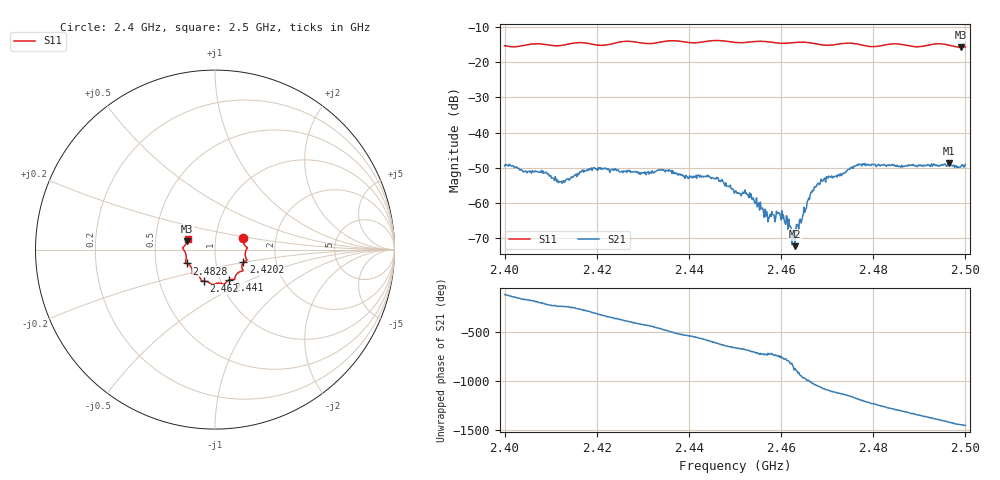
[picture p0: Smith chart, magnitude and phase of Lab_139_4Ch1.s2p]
# Hz S RI R 50
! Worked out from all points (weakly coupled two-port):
!   601 points, 2.4 GHz to 2.5 GHz, reference 50 ohm
!   highest |S21| = -48.73 dB at 2.4965 GHz (marker M1); lowest = -72.2 dB at 2.463 GHz (marker M2)
!   lowest |S11| = -15.8 dB at 2.499 GHz (marker M3), VSWR 1.39, Z = 36.5 + j3.49 ohm
!   |S11| at or under -10 dB: start of sweep to end of sweep
!   S12 and S22 are empty: the file has one direction only
!   S11 on the Smith chart (normalised r, x): 2.4 GHz: 1.36, +0.18; 2.4202 GHz: 1.36, -0.20; 2.441 GHz: 1.10, -0.39; 2.462 GHz: 0.84, -0.30; 2.4828 GHz: 0.72, -0.11; 2.5 GHz: 0.73, +0.09
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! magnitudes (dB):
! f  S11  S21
! 2.4 GHz  -15.4  -49.5
! 2.4085 GHz  -15.0  -51.5
! 2.4122 GHz  -15.4  -53.9
! 2.4167 GHz  -14.5  -51.2
! 2.4202 GHz  -15.2  -50.8
! 2.4333 GHz  -14.5  -50.7
! 2.441 GHz  -14.6  -52.4
! 2.4458 GHz  -13.9  -53.2
! 2.45 GHz  -14.5  -56.8
! 2.453 GHz  -14.4  -58.5
! 2.4568 GHz  -14.2  -62.3
! 2.46 GHz  -14.7  -64.7
! 2.462 GHz  -14.6  -66.5
! 2.463 GHz  -14.5  -72.2
! 2.4667 GHz  -14.6  -57.0
! 2.469 GHz  -15.2  -53.8
! 2.4763 GHz  -14.9  -49.4
! 2.4828 GHz  -15.1  -49.6
! 2.4833 GHz  -15.0  -49.4
! 2.4965 GHz  -15.3  -48.7
! 2.499 GHz  -15.8  -49.6
! 2.5 GHz  -15.7  -49.0
